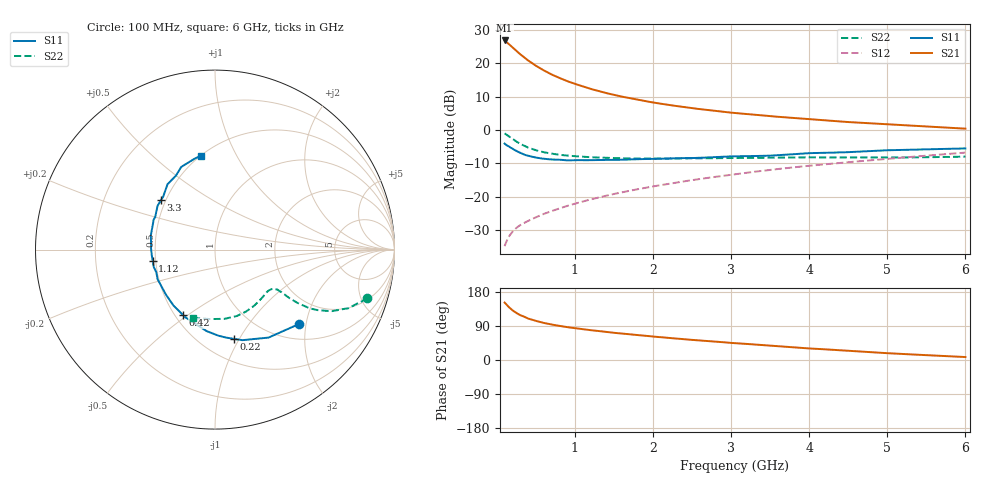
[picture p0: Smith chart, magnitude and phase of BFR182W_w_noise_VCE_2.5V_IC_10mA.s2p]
! Infineon Technologies  Discrete & RF Semiconductors
! BFR182W
! VCE =  2.5 V,  IC =  10 mA
! Common Emitter S-Parameters:  Nov 2015
# GHz  S  MA  R  50
!  f  S11  S21  S12  S22
! GHz  MAG  ANG  MAG  ANG  MAG  ANG  MAG  ANG
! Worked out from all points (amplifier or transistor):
!   192 points, 100 MHz to 6 GHz, reference 50 ohm
!   highest |S21| = 26.9 dB at 100 MHz (marker M1)
!   |S21| within 3 dB of that: start of sweep to 245.2 MHz
!   unconditionally stable (mu >= 1): 1.008 GHz to 2.75 GHz
!   at 440 MHz: K = 0.72, MSG = 23.5 dB, |S12| = -26.8 dB
!   at 1.7 GHz: K = 1.06, MAG = 12.4 dB, |S12| = -18.2 dB
!   at 6 GHz: K = 0.78, MSG = 3.6 dB, |S12| = -6.8 dB
!   lowest NFmin = 1.50 dB at 450 MHz
!   S11 on the Smith chart (normalised r, x): 100 MHz: 1.34, -1.83; 220 MHz: 0.71, -0.95; 420 MHz: 0.55, -0.48; 1.12 GHz: 0.48, -0.07; 3.3 GHz: 0.47, +0.31; 6 GHz: 0.50, +0.73
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0.1  0.6261 -41.4  22.09 151.5  0.0181 71.6  0.8905 -17.8
0.15  0.5738 -58.7  19.71 140.2  0.0248 66.6  0.8122 -23.7
0.2  0.5272 -73.2  17.47 131.2  0.0297 63.2  0.7374 -27.7
0.22  0.5084 -78.0  16.63 128.6  0.0314 62.2  0.711 -28.7
0.26  0.4801 -87.7  15.09 123.0  0.0347 60.6  0.6618 -30.6
0.3  0.4565 -95.9  13.7 118.3  0.0375 59.5  0.6215 -31.8
0.4  0.4119 -113.6  11.08 109.4  0.0433 59.2  0.5454 -32.9
0.42  0.4055 -116.1  10.7 108.3  0.0444 59.4  0.5357 -32.9
0.5  0.3881 -126.6  9.226 103.0  0.049 60.0  0.4968 -33.1
0.6  0.3712 -137.3  7.872 97.9  0.0551 60.9  0.4643 -32.9
0.7  0.3618 -145.4  6.832 93.6  0.0606 62.1  0.4424 -32.6
0.9  0.3505 -158.9  5.415 86.8  0.0726 64.4  0.4139 -32.6
1.1  0.3528 -168.7  4.53 81.5  0.0847 66.1  0.398 -33.5
1.12  0.3527 -169.6  4.452 81.0  0.0859 66.2  0.3966 -33.6
1.5  0.3561 176.8  3.368 71.8  0.1098 67.6  0.3798 -36.3
2.08  0.3705 160.5  2.504 60.5  0.1479 68.3  0.3735 -42.3
2.5  0.3796 151.3  2.125 53.0  0.1771 67.8  0.3759 -47.4
3.1  0.4041 140.9  1.78 43.8  0.221 66.1  0.3816 -56.6
3.3  0.4077 137.6  1.695 40.9  0.2367 65.3  0.3831 -60.0
4.1  0.4525 124.3  1.429 29.4  0.2987 61.2  0.3884 -73.9
5.1  0.5002 110.6  1.204 17.0  0.3777 55.3  0.3875 -92.9
6  0.5299 98.7  1.049 7.8  0.4586 49.4  0.3996 -107.9
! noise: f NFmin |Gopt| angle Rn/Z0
0.45  1.5  0.26  43  0.28
0.9  1.6  0.24  87  0.22
1.8  2.1  0.2  170  0.2
